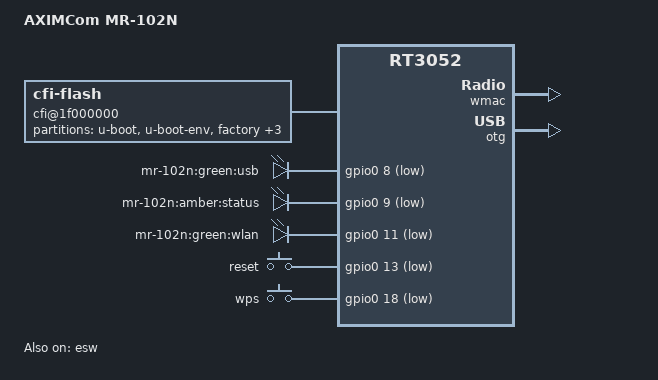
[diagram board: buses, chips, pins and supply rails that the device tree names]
/dts-v1/;

#include "rt3050.dtsi"

/ {
	compatible = "MR-102N", "ralink,rt3052-soc";
	model = "AXIMCom MR-102N";

	cfi@1f000000 {
		compatible = "cfi-flash";
		reg = <0x1f000000 0x800000>;
		bank-width = <2>;
		device-width = <2>;
		#address-cells = <1>;
		#size-cells = <1>;

		partition@0 {
			label = "u-boot";
			reg = <0x0 0x30000>;
			read-only;
		};

		partition@30000 {
			label = "u-boot-env";
			reg = <0x30000 0x10000>;
			read-only;
		};

		factory: partition@40000 {
			label = "factory";
			reg = <0x40000 0x10000>;
			read-only;
		};

		partition@50000 {
			label = "firmware";
			reg = <0x50000 0x790000>;
		};

		partition@7e0000 {
			label = "nvram";
			reg = <0x7e0000 0x10000>;
		};

		partition@7f0000 {
			label = "nvram_backup";
			reg = <0x7f0000 0x10000>;
		};
	};

	gpio-leds {
		compatible = "gpio-leds";

		usb {
			label = "mr-102n:green:usb";
			gpios = <&gpio0 8 1>;
		};

		status {
			label = "mr-102n:amber:status";
			gpios = <&gpio0 9 1>;
		};

		wlan {
			label = "mr-102n:green:wlan";
			gpios = <&gpio0 11 1>;
		};
	};

	gpio-keys-polled {
		compatible = "gpio-keys-polled";
		#address-cells = <1>;
		#size-cells = <0>;
		poll-interval = <20>;

		reset {
			label = "reset";
			gpios = <&gpio0 13 1>;
			linux,code = <0x198>;
		};

		wps {
			label = "wps";
			gpios = <&gpio0 18 1>;
			linux,code = <0x211>;
		};
	};
};

&pinctrl {
	state_default: pinctrl0 {
		gpio {
			ralink,group = "i2c", "jtag", "rgmii", "mdio", "uartf";
			ralink,function = "gpio";
		};
	};
};

&ethernet {
	mtd-mac-address = <&factory 0x4>;
};

&esw {
	status = "okay";
	#mediatek,portmap = <0x3e>;
	mediatek,portmap = <0x2f>;
};

&wmac {
	ralink,mtd-eeprom = <&factory 0>;
};


&otg {
	status = "okay";
};
